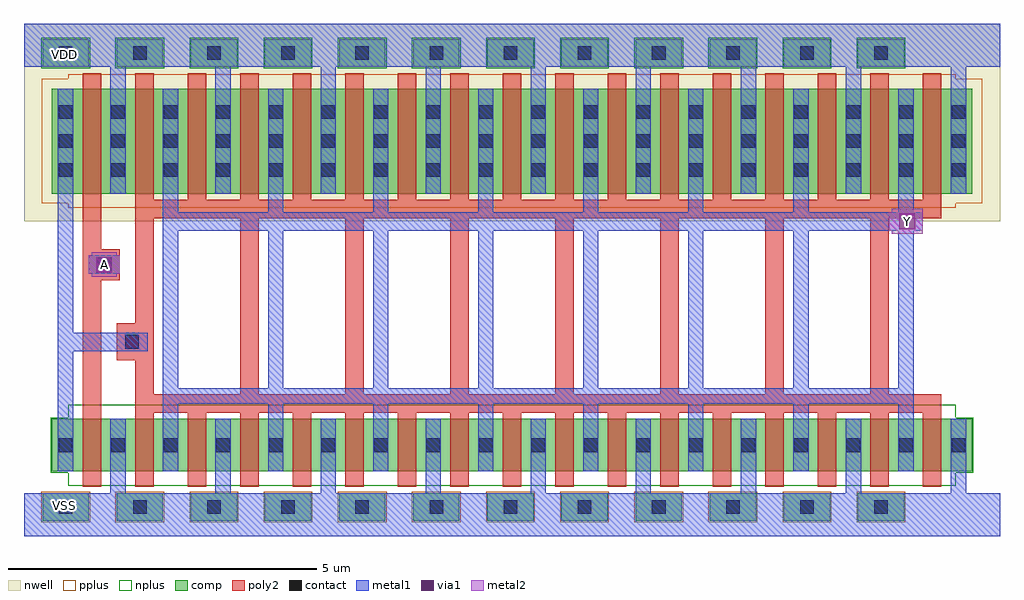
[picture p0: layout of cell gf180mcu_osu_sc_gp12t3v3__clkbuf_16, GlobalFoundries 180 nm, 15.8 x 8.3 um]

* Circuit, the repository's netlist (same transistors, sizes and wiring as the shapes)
* Copyright 2022 Google LLC
*
* Licensed under the Apache License, Version 2.0 (the "License");
* you may not use this file except in compliance with the License.
* You may obtain a copy of the License at
*
*      http://www.apache.org/licenses/LICENSE-2.0
*
* Unless required by applicable law or agreed to in writing, software
* distributed under the License is distributed on an "AS IS" BASIS,
* WITHOUT WARRANTIES OR CONDITIONS OF ANY KIND, either express or implied.
* See the License for the specific language governing permissions and
* limitations under the License.

.option scale=0.05u

.subckt gf180mcu_osu_sc_gp12t3v3__clkbuf_16 A Y
X0 Y a_9_19 VDD VDD pmos_3p3 w=34 l=6
X1 VDD a_9_19 Y VDD pmos_3p3 w=34 l=6
X2 VSS a_9_19 Y VSS nmos_3p3 w=17 l=6
X3 Y a_9_19 VDD VDD pmos_3p3 w=34 l=6
X4 VSS a_9_19 Y VSS nmos_3p3 w=17 l=6
X5 Y a_9_19 VDD VDD pmos_3p3 w=34 l=6
X6 VDD a_9_19 Y VDD pmos_3p3 w=34 l=6
X7 VDD a_9_19 Y VDD pmos_3p3 w=34 l=6
X8 Y a_9_19 VSS VSS nmos_3p3 w=17 l=6
X9 Y a_9_19 VDD VDD pmos_3p3 w=34 l=6
X10 Y a_9_19 VSS VSS nmos_3p3 w=17 l=6
X11 VDD A a_9_19 VDD pmos_3p3 w=34 l=6
X12 VSS a_9_19 Y VSS nmos_3p3 w=17 l=6
X13 VSS a_9_19 Y VSS nmos_3p3 w=17 l=6
X14 VSS a_9_19 Y VSS nmos_3p3 w=17 l=6
X15 VSS A a_9_19 VSS nmos_3p3 w=17 l=6
X16 VSS a_9_19 Y VSS nmos_3p3 w=17 l=6
X17 Y a_9_19 VSS VSS nmos_3p3 w=17 l=6
X18 Y a_9_19 VSS VSS nmos_3p3 w=17 l=6
X19 VSS a_9_19 Y VSS nmos_3p3 w=17 l=6
X20 VSS a_9_19 Y VSS nmos_3p3 w=17 l=6
X21 Y a_9_19 VSS VSS nmos_3p3 w=17 l=6
X22 Y a_9_19 VDD VDD pmos_3p3 w=34 l=6
X23 VDD a_9_19 Y VDD pmos_3p3 w=34 l=6
X24 Y a_9_19 VSS VSS nmos_3p3 w=17 l=6
X25 VDD a_9_19 Y VDD pmos_3p3 w=34 l=6
X26 Y a_9_19 VSS VSS nmos_3p3 w=17 l=6
X27 Y a_9_19 VSS VSS nmos_3p3 w=17 l=6
X28 VDD a_9_19 Y VDD pmos_3p3 w=34 l=6
X29 Y a_9_19 VDD VDD pmos_3p3 w=34 l=6
X30 VDD a_9_19 Y VDD pmos_3p3 w=34 l=6
X31 Y a_9_19 VDD VDD pmos_3p3 w=34 l=6
X32 Y a_9_19 VDD VDD pmos_3p3 w=34 l=6
X33 VDD a_9_19 Y VDD pmos_3p3 w=34 l=6
.ends

** hspice subcircuit dictionary

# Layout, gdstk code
import gdstk
lib = gdstk.Library(unit=1e-6, precision=1e-09)
def R(c, l, rs):  # rectangles x0, y0, x1, y1
    for r in rs: c.add(gdstk.rectangle(r[:2], r[2:], *l))
def A(c, l, x, y, w, h, nx, ny, dx, dy):  # array of equal rectangles
    R(c, l, [(x+i*dx, y+j*dy, x+i*dx+w, y+j*dy+h) for i in range(nx) for j in range(ny)])
nwell = (21, 0)
comp = (22, 0)
poly2 = (30, 0)
pplus = (31, 0)
nplus = (32, 0)
contact = (33, 0)
metal1 = (34, 0)
via1 = (35, 0)
metal2 = (36, 0)

gf180mcu_osu_sc_gp12t3v3 = lib.new_cell('gf180mcu_osu_sc_gp12t3v3__clkbuf_16')
R(gf180mcu_osu_sc_gp12t3v3, nwell, [(0,5.1,15.8,8.3)])
A(gf180mcu_osu_sc_gp12t3v3, comp, 0.3, 0.25, 0.75, 0.45, 12, 2, 1.2, 7.35)
R(gf180mcu_osu_sc_gp12t3v3, comp, [(0.45,1.05,15.35,1.9), (0.45,5.55,15.35,7.25)])
A(gf180mcu_osu_sc_gp12t3v3, poly2, 1.8, 0.8, 0.3, 1.2, 16, 1, 0.85, 0)
A(gf180mcu_osu_sc_gp12t3v3, poly2, 3.5, 2.3, 0.3, 2.85, 7, 1, 1.7, 0)
A(gf180mcu_osu_sc_gp12t3v3, poly2, 1.8, 5.45, 0.3, 2.05, 16, 1, 0.85, 0)
R(gf180mcu_osu_sc_gp12t3v3, poly2, [(0.95,0.8,1.25,4.15), (1.8,2,14.85,2.3), (1.8,2.3,2.1,2.85), (1.5,2.85,2.1,3.45), (1.8,3.45,2.1,5.15), (0.95,4.15,1.55,4.65), (0.95,4.65,1.25,7.5), (1.8,5.15,14.85,5.45)])
A(gf180mcu_osu_sc_gp12t3v3, pplus, 0.28, 0.23, 0.79, 0.49, 12, 1, 1.2, 0)
R(gf180mcu_osu_sc_gp12t3v3, pplus, [(0.72,5.32,15.08,5.39), (0.29,5.39,15.51,7.41), (0.72,7.41,15.08,7.48)])
A(gf180mcu_osu_sc_gp12t3v3, nplus, 0.28, 7.58, 0.79, 0.49, 12, 1, 1.2, 0)
R(gf180mcu_osu_sc_gp12t3v3, nplus, [(0.72,0.82,15.08,1.03), (0.43,1.03,15.37,1.92), (0.72,1.92,15.08,2.13)])
A(gf180mcu_osu_sc_gp12t3v3, contact, 0.565, 0.365, 0.22, 0.22, 12, 2, 1.2, 7.35)
A(gf180mcu_osu_sc_gp12t3v3, contact, 0.565, 1.365, 0.22, 0.22, 18, 2, 0.85, 4.455)
A(gf180mcu_osu_sc_gp12t3v3, contact, 0.565, 6.29, 0.22, 0.22, 18, 2, 0.85, 0.47)
R(gf180mcu_osu_sc_gp12t3v3, contact, [(1.64,3.04,1.86,3.26), (1.19,4.29,1.41,4.51)])
A(gf180mcu_osu_sc_gp12t3v3, metal1, 1.4, 0.7, 0.25, 1.2, 9, 1, 1.7, 0)
A(gf180mcu_osu_sc_gp12t3v3, metal1, 2.25, 1.05, 0.25, 1.1, 8, 1, 1.7, 0)
A(gf180mcu_osu_sc_gp12t3v3, metal1, 2.25, 2.4, 0.25, 2.55, 8, 1, 1.7, 0)
A(gf180mcu_osu_sc_gp12t3v3, metal1, 2.25, 5.25, 0.25, 2, 8, 1, 1.7, 0)
A(gf180mcu_osu_sc_gp12t3v3, metal1, 1.4, 5.55, 0.25, 2.05, 9, 1, 1.7, 0)
R(gf180mcu_osu_sc_gp12t3v3, metal1, [(0,0,15.8,0.7), (0.55,1.05,0.8,3), (2.25,2.15,14.4,2.4), (0.55,3,2,3.3), (0.55,3.3,0.8,7.25), (1.05,4.25,1.55,4.55), (2.25,4.95,14.55,5.25), (0,7.6,15.8,8.3)])
R(gf180mcu_osu_sc_gp12t3v3, via1, [(1.17,4.27,1.43,4.53), (14.17,4.97,14.43,5.23)])
R(gf180mcu_osu_sc_gp12t3v3, metal2, [(1.1,4.2,1.5,4.25), (1.05,4.25,1.55,4.55), (1.1,4.55,1.5,4.6), (14.05,4.9,14.55,4.95), (14,4.95,14.55,5.25), (14.05,5.25,14.55,5.3)])
gf180mcu_osu_sc_gp12t3v3.add(gdstk.Label('A', (1.3,4.4), layer=36, texttype=10))
gf180mcu_osu_sc_gp12t3v3.add(gdstk.Label('Y', (14.3,5.1), layer=36, texttype=10))
gf180mcu_osu_sc_gp12t3v3.add(gdstk.Label('VDD', (0.65,7.8), layer=34, texttype=10))
gf180mcu_osu_sc_gp12t3v3.add(gdstk.Label('VSS', (0.65,0.5), layer=34, texttype=10))

lib.write_gds('gf180mcu_osu_sc_gp12t3v3__clkbuf_16.gds')
